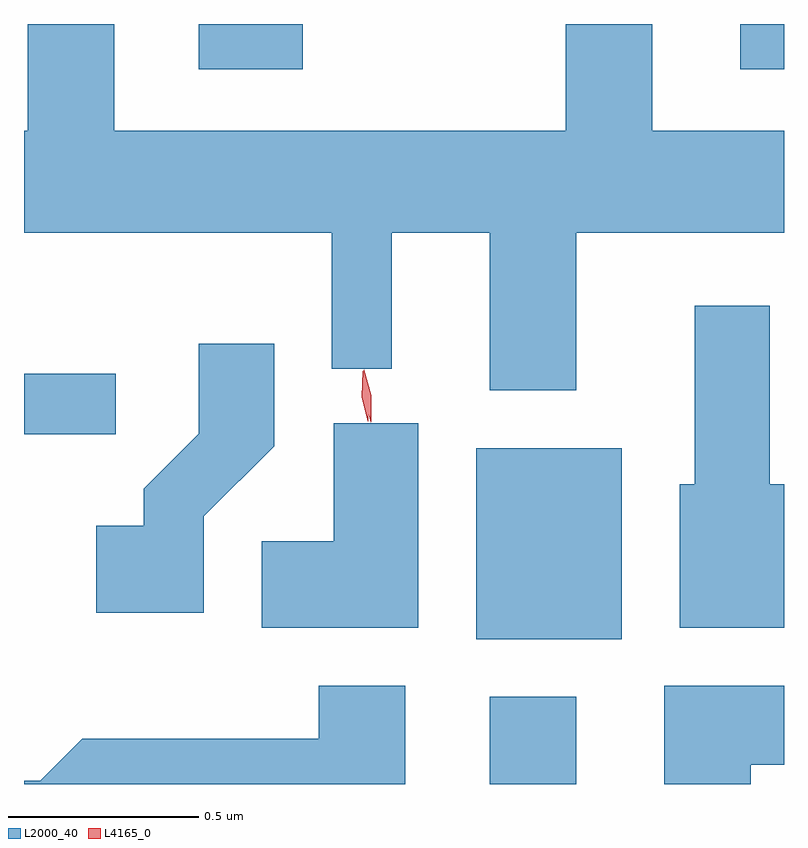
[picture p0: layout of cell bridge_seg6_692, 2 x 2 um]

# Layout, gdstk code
import gdstk
lib = gdstk.Library(unit=1e-6, precision=1e-09)
def R(c, l, rs):  # rectangles x0, y0, x1, y1
    for r in rs: c.add(gdstk.rectangle(r[:2], r[2:], *l))
def P(c, l, *ps):  # polygons
    for p in ps: c.add(gdstk.Polygon(p, *l))
L2000_40 = (2000, 40)
L4165_0 = (4165, 0)

bridge_seg6_692 = lib.new_cell('bridge_seg6_692')
R(bridge_seg6_692, L2000_40, [(213.841,1626.285,214.069,1626.514), (213.806,1626.666,214.189,1627.169), (212.616,1627.206,212.858,1627.364), (213.076,1628.166,213.349,1628.285), (214.501,1628.166,214.616,1628.285)])
P(bridge_seg6_692, L2000_40, [(214.069,1627.736),(214.616,1627.736),(214.616,1628.004),(214.269,1628.004),(214.269,1628.285),(214.041,1628.285),(214.041,1628.004),(212.854,1628.004),(212.854,1628.285),(212.626,1628.285),(212.626,1628.004),(212.616,1628.004),(212.616,1627.736),(213.426,1627.736),(213.426,1627.378),(213.584,1627.378),(213.584,1627.736),(213.841,1627.736),(213.841,1627.321),(214.069,1627.321)],
  [(214.616,1627.074),(214.579,1627.074),(214.579,1627.544),(214.381,1627.544),(214.381,1627.074),(214.341,1627.074),(214.341,1626.696),(214.616,1626.696)],
  [(213.089,1626.989),(213.274,1627.174),(213.274,1627.444),(213.076,1627.444),(213.076,1627.207),(212.931,1627.062),(212.931,1626.964),(212.806,1626.964),(212.806,1626.736),(213.089,1626.736)],
  [(213.654,1627.234),(213.431,1627.234),(213.431,1626.924),(213.241,1626.924),(213.241,1626.696),(213.654,1626.696)],
  [(213.619,1626.544),(213.391,1626.544),(213.391,1626.404),(212.769,1626.404),(212.659,1626.294),(212.616,1626.294),(212.616,1626.285),(213.619,1626.285)],
  [(214.529,1626.336),(214.616,1626.336),(214.616,1626.544),(214.301,1626.544),(214.301,1626.285),(214.529,1626.285)])
P(bridge_seg6_692, L4165_0, [(213.521,1627.239),(213.521,1627.24),(213.505,1627.304),(213.508,1627.371),(213.508,1627.371),(213.509,1627.371),(213.525,1627.306),(213.522,1627.24)],
  [(213.529,1627.237),(213.529,1627.238),(213.51,1627.305),(213.51,1627.374),(213.511,1627.375),(213.512,1627.374),(213.53,1627.308),(213.53,1627.238)])

lib.write_gds('bridge_seg6_692.gds')
